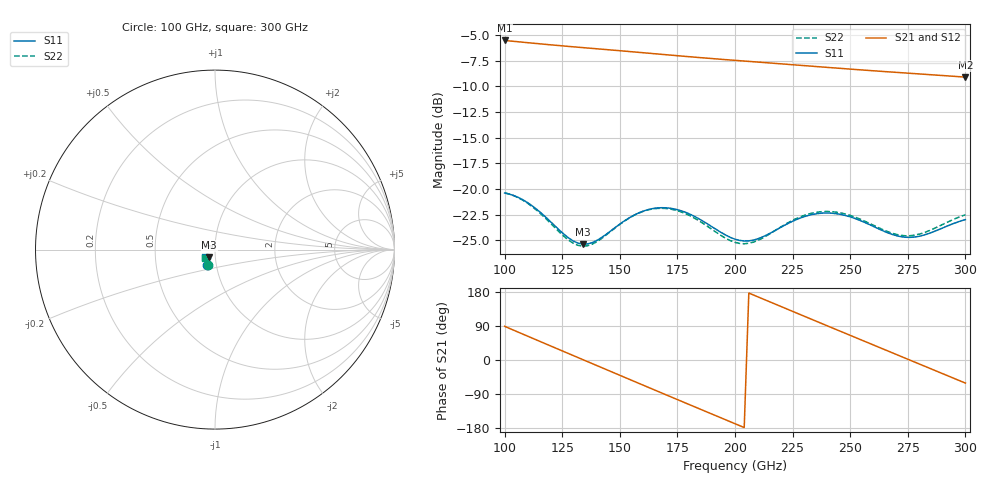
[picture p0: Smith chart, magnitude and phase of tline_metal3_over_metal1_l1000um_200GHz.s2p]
#  GHZ S DB R 50
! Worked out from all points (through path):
!   101 points, 100 GHz to 300 GHz, reference 50 ohm
!   highest |S21| = -5.52 dB at 100 GHz (marker M1); lowest = -9.1 dB at 300 GHz (marker M2)
!   group delay of S21, straight-line fit = 7.08 ps
!   lowest |S11| = -25.4 dB at 134 GHz (marker M3), VSWR 1.11, Z = 46.7 - j4.07 ohm
!   |S11| at or under -10 dB: start of sweep to end of sweep
!   |S22| runs from -25.6 to -20.4 dB; largest |S21 - S12| = 8.6e-15
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100  -20.40 -116.6  -5.52 88.9  -5.52 88.9  -20.39 -115.8
108  -21.07 -127.1  -5.69 68.1  -5.69 68.1  -21.11 -126.5
118  -22.78 -135.5  -5.90 42.2  -5.90 42.2  -22.92 -134.9
126  -24.46 -134.8  -6.06 21.5  -6.06 21.5  -24.67 -133.7
134  -25.38 -126.3  -6.22 0.9  -6.22 0.9  -25.58 -124.3
142  -24.76 -117.7  -6.37 -19.7  -6.37 -19.7  -24.85 -115.4
152  -23.12 -117.2  -6.56 -45.5  -6.56 -45.5  -23.14 -115.2
160  -22.18 -122.9  -6.71 -66.1  -6.71 -66.1  -22.20 -121.3
168  -21.83 -130.8  -6.87 -86.6  -6.87 -86.6  -21.88 -129.4
182  -22.63 -143.2  -7.14 -122.3  -7.14 -122.3  -22.80 -141.9
192  -23.97 -146.0  -7.32 -147.8  -7.32 -147.8  -24.25 -144.1
200  -24.90 -142.3  -7.46 -168.1  -7.46 -168.1  -25.21 -139.2
208  -24.99 -135.4  -7.59 171.6  -7.59 171.6  -25.19 -131.4
216  -24.23 -131.2  -7.73 151.2  -7.73 151.2  -24.26 -126.9
226  -23.05 -132.7  -7.90 125.8  -7.90 125.8  -22.95 -128.8
234  -22.47 -137.6  -8.04 105.5  -8.04 105.5  -22.33 -134.1
242  -22.36 -143.6  -8.18 85.3  -8.18 85.3  -22.22 -140.4
250  -22.72 -148.9  -8.31 65.1  -8.31 65.1  -22.58 -145.8
260  -23.65 -152.2  -8.47 39.9  -8.47 39.9  -23.53 -149.0
268  -24.42 -150.6  -8.60 19.7  -8.60 19.7  -24.31 -147.1
284  -24.36 -141.7  -8.84 -20.6  -8.84 -20.6  -24.10 -137.3
300  -22.99 -143.1  -9.09 -60.9  -9.09 -60.9  -22.52 -138.8
